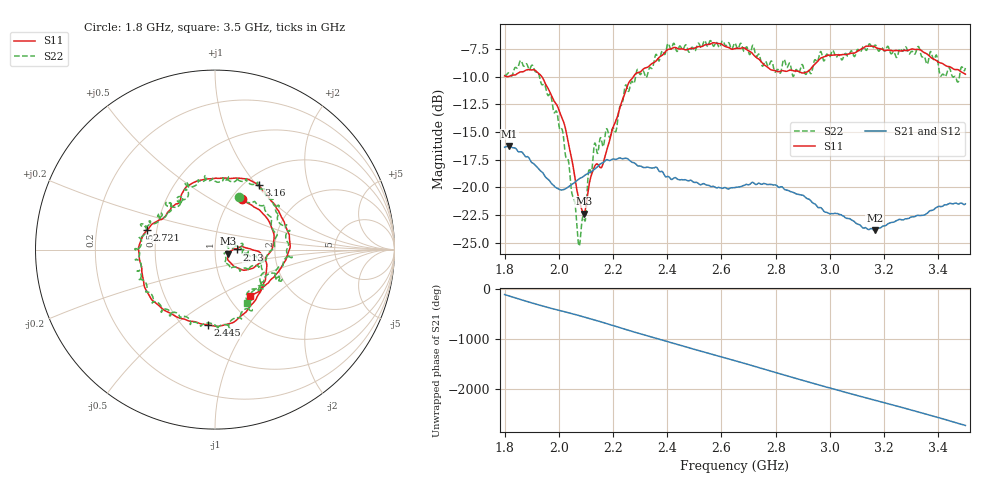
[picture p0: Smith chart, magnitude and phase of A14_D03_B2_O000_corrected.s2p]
! Created with skrf 1.9.0 (http://scikit-rf.org).
# Hz S RI R 50.0
!freq ReS11 ImS11 ReS21 ImS21 ReS12 ImS12 ReS22 ImS22
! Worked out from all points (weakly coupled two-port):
!   1601 points, 1.8 GHz to 3.5 GHz, reference 50 ohm
!   highest |S21| = -16.27 dB at 1.817 GHz (marker M1); lowest = -23.9 dB at 3.165 GHz (marker M2)
!   lowest |S11| = -22.4 dB at 2.092 GHz (marker M3), VSWR 1.17, Z = 57.8 - j2.55 ohm
!   |S11| at or under -10 dB: 1.807468 GHz to 1.813078 GHz (5.61 MHz wide, 0.31 % of centre); 1.937 GHz to 2.276 GHz (338.7 MHz wide, 16.1 % of centre)
!   |S22| runs from -25.3 to -6.7 dB; largest |S21 - S12| = 0.0026
!   S11 on the Smith chart (normalised r, x): 1.8 GHz: 1.13, +0.70; 2.13 GHz: 1.28, +0.00; 2.445 GHz: 0.65, -0.66; 2.721 GHz: 0.44, +0.11; 3.16 GHz: 1.16, +1.02; 3.5 GHz: 1.26, -0.72
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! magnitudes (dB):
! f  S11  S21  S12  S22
! 1.8 GHz  -9.9  -16.4  -16.4  -9.8
! 1.817 GHz  -10.0  -16.3  -16.3  -9.7
! 1.903 GHz  -9.4  -17.8  -17.8  -9.0
! 1.968 GHz  -11.4  -19.5  -19.5  -11.6
! 2.015 GHz  -13.9  -20.2  -20.2  -15.0
! 2.072 GHz  -20.8  -19.3  -19.3  -25.0
! 2.084 GHz  -21.9  -19.1  -19.1  -23.4
! 2.092 GHz  -22.4  -19.0  -19.0  -22.7
! 2.13 GHz  -18.2  -18.4  -18.4  -16.2
! 2.162 GHz  -17.9  -17.8  -17.7  -16.3
! 2.26 GHz  -10.5  -17.6  -17.6  -11.2
! 2.367 GHz  -8.3  -18.4  -18.4  -8.5
! 2.445 GHz  -7.5  -19.3  -19.3  -7.3
! 2.65 GHz  -7.5  -20.0  -20.0  -7.0
! 2.721 GHz  -8.1  -19.6  -19.6  -7.5
! 2.802 GHz  -9.5  -19.8  -19.8  -9.5
! 2.934 GHz  -9.2  -21.3  -21.3  -9.6
! 3.16 GHz  -7.3  -23.8  -23.8  -7.4
! 3.165 GHz  -7.3  -23.9  -23.8  -7.2
! 3.217 GHz  -7.6  -23.2  -23.2  -7.4
! 3.468 GHz  -9.4  -21.4  -21.4  -10.4
! 3.5 GHz  -9.8  -21.5  -21.5  -9.2
